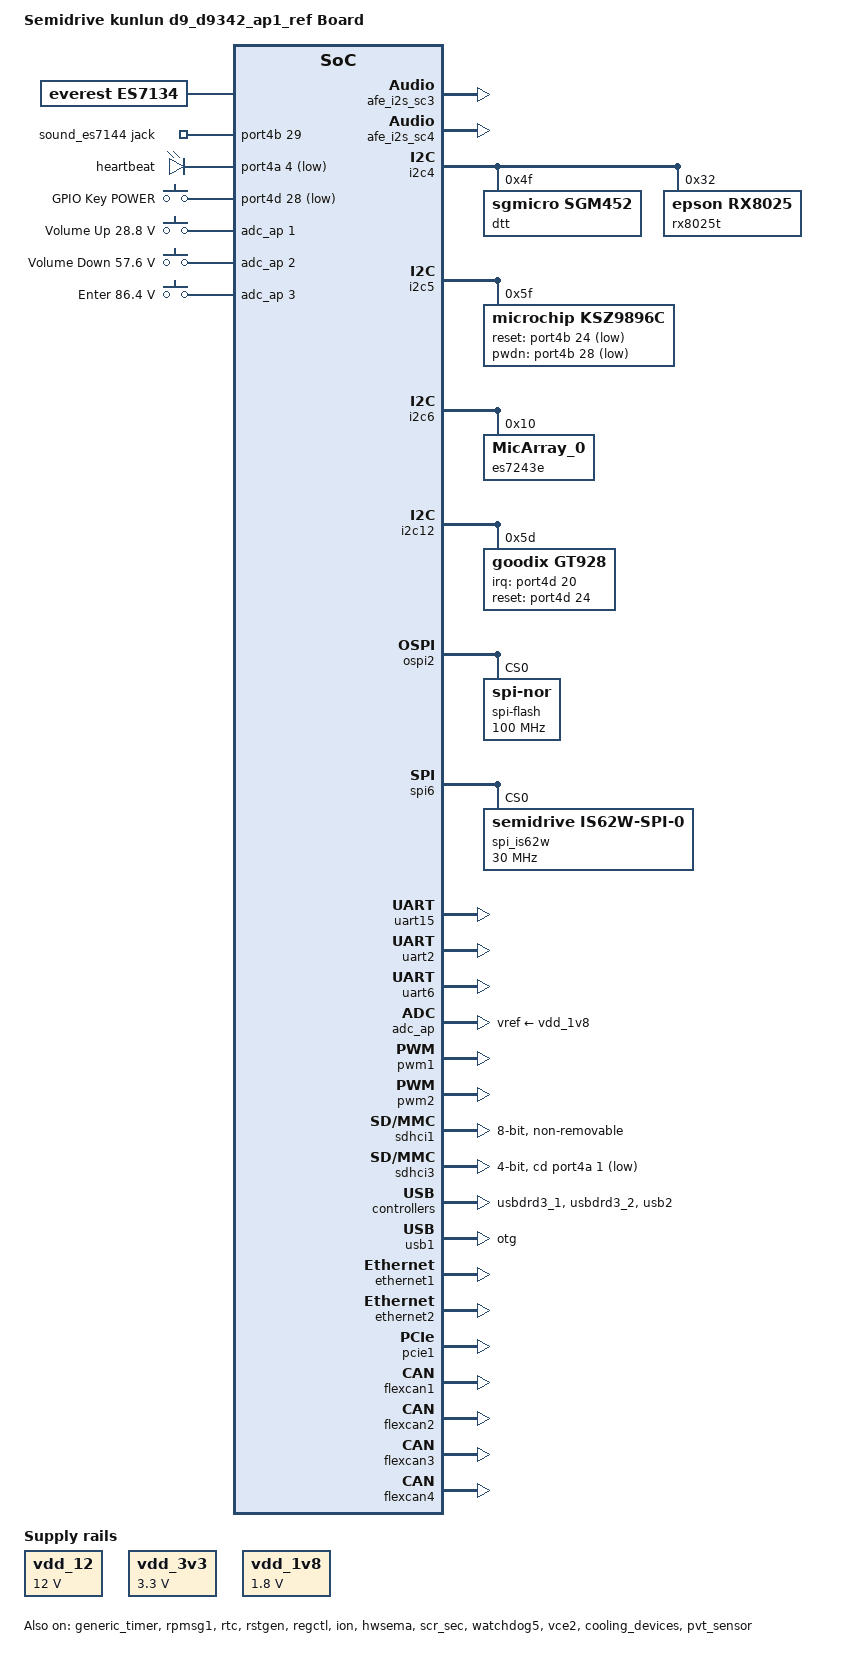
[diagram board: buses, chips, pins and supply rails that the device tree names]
/*
 * Semidrive kunlun platform DTS file
 *
 * Copyright (C) 2019, Semidrive  Communications Inc.
 *
 * This file is licensed under a dual GPLv2 or X11 license.
 */

/dts-v1/;
#include <dt-bindings/input/input.h>
#include <dt-bindings/pinctrl/pins-sdx9.h>
#include <dt-bindings/memmap/d9342/projects/default/image_cfg.h>
#include <dt-bindings/memory/sdrv_ion.h>
#include <dt-bindings/rpmsg/sd,x9h-default.h>
#include "d9342_ap1.dtsi"
#include "lcd-timings.dtsi"
#include "lcd_hsd123_serdes_mipi_1920x720.dtsi"
#include "lcd_lt9611_bridge_mipi_1920x1080.dtsi"

/ {
	model = "Semidrive kunlun d9_d9342_ap1_ref Board";

	compatible = "semidrive,kunlun";

	aliases {
		serial0 = &uart15;
		serial1 = &uart1;
		serial2 = &uart2;
		//serial3 = &uart3;//safety debug uart
		serial4 = &uart4;
		serial5 = &uart5;
		serial6 = &uart6;
		serial7 = &uart7; /* no use */
		serial8 = &uart8; /* no use */
		serial9 = &uart9;
		//serial10 = &uart10;//sec ssystem debug uart
		serial11 = &uart11;
		serial12 = &uart12;
		serial13 = &uart13;
		serial14 = &uart14;
		//serial15 = &uart15;//linux debug uart
		serial16 = &uart16;
		ethernet0 = &ethernet1;
		ethernet1 = &ethernet2;
		i2c1 = &i2c1;
		i2c2 = &i2c2;
		i2c3 = &i2c3;
		i2c4 = &i2c4;
		i2c5 = &i2c5;
		i2c6 = &i2c6;
		i2c7 = &i2c7;
		i2c8 = &i2c8;
		i2c9 = &i2c9;
		i2c10 = &i2c10;
		i2c11 = &i2c11;
		i2c12 = &i2c12;
		spi0 = &ospi2;
		spi2 = &spi2;
		spi5 = &spi5;
		spi6 = &spi6;
		spi7 = &spi7;
		spi8 = &spi8;
	};

	memory@50000000 {
		device_type = "memory";
		reg = <HIGH32(AP1_REE_MEMBASE) LOW32(AP1_REE_MEMBASE) HIGH32(AP1_REE_MEMSIZE) LOW32(AP1_REE_MEMSIZE) \
		       HIGH32(AP1_2ND_MEMBASE) LOW32(AP1_2ND_MEMBASE) HIGH32(AP1_2ND_MEMSIZE) LOW32(AP1_2ND_MEMSIZE) \
		       0x0 (VDSP_MEMBASE+0x4000) 0x0 (VDSP_SHARE_MEMSIZE + VDSP_MEMSIZE -0x4000)>;
	};

	reserved-memory {
		#address-cells = <2>;
		#size-cells = <2>;
		ranges;

		crashdump {
			/* reserve preloader mem for crashdump */
			compatible = "crashdump";
			reg = <HIGH32(AP1_PRELOADER_MEMBASE) LOW32(AP1_PRELOADER_MEMBASE) 0 AP1_PRELOADER_MEMSIZE>;
		};

		ramoops {
			compatible = "ramoops";
			reg = <HIGH32(AP1_BOARD_RAMDISK_MEMBASE + AP1_BOARD_RAMDISK_MEMSIZE + 0x1000000)
				LOW32(AP1_BOARD_RAMDISK_MEMBASE + AP1_BOARD_RAMDISK_MEMSIZE + 0x1000000) 0x0 0x100000>;
			record-size = <0x60000>;
			console-size = <0x40000>;
			ftrace-size = <0x20000>;
			pmsg-size = <0x40000>;
		};

		/* Default Common CMA Pool */
		/* QUIRK: Must be kept in the lower 4096 MiBs of DRAM banks for VE */
		linux,cma {
			compatible = "shared-dma-pool";
			reusable;
			size = <0x0 0x10000000>; /* 256MB */
			/* 4GB maximum in case of 32-bit only capable devices */
			alloc-ranges = <0x0 0x0 0x0 0xffffffff>;
			linux,cma-default;
		};

		rproc_0_safety: rproc@0 {
			compatible = "shared-dma-pool";
			no-map;
			reg = <0x0 RPMSG0_MEM_POOL_BASE 0x0 RPMSG0_MEM_POOL_SIZE>;
		};

		rproc_1_secure: rproc@1 {
			compatible = "shared-dma-pool";
			no-map;
			reg = <0x0 RPMSG1_MEM_POOL_BASE 0x0 RPMSG1_MEM_POOL_SIZE>;
		};
	};

	chosen {
		// The uboot bootargs will override this bootargs property defined in
		// current node. if you want to modify the bootargs, Please goto uboot
		// to modify include/configs/semidrive/<board.h>

		//bootargs = "skip_initramfs noinitrd root=/dev/mmcblk0p4 rootfstype=ext4 rootwait rw init=/sbin/init highres=1 earlycon loglevel=4 nr_uarts=16 console=ttyS0,115200n8 fbcon=map:1 androidboot.mode=normal androidboot.selinux=permissive androidboot.debuggable=1 androidboot.dm_verity=disable psplash=false";
		stdout-path = "serial0";
                 linux,initrd-start = <AP1_BOARD_RAMDISK_MEMBASE>;
                 linux,initrd-end   = <(AP1_BOARD_RAMDISK_MEMBASE + AP1_BOARD_RAMDISK_MEMSIZE)>;/* 32 MB */
	};

	vdd_12: fixed-vdd_12 {
		compatible = "regulator-fixed";
		regulator-name = "vdd_12v";
		regulator-min-microvolt = <12000000>;
		regulator-max-microvolt = <12000000>;
	};

	vdd_3v3: fixed-vdd_3v3 {
		compatible = "regulator-fixed";
		regulator-name = "vdd_3v3";
		regulator-min-microvolt = <3300000>;
		regulator-max-microvolt = <3300000>;
	};

	vdd_1v8: fixed-vdd_1v8 {
		compatible = "regulator-fixed";
		regulator-name = "vdd_1v8";
		regulator-min-microvolt = <1800000>;
		regulator-max-microvolt = <1800000>;
	};

	es7134: codec@es7134 {
		compatible = "everest,es7134";
		status = "okay";
	};

	sound_es7243e: sound@es7243e {
		compatible = "semidrive,d9-ref-es7243e";
		semidrive,audio-codec = <&es7243e>;
		status = "okay";
	};

	sound_es7144: sound@es7144 {
		compatible = "semidrive,d9-ref-es7144";
		semidrive,audio-codec = <&es7134>;
		semidrive,jack-gpio = <&port4b 29 GPIO_ACTIVE_HIGH>;
		status = "okay";
	};

	leds {
		compatible = "gpio-leds";
		status = "okay";
		led0: heartbeat {
			label = "heartbeat";
			gpios = <&port4a 4 GPIO_ACTIVE_LOW> ;//sch-part-D6<->gpio_a4
			default-state = "on";
			linux,default-trigger = "heartbeat";
		};
	};

	gpio-keys {
		status = "okay";
		compatible = "gpio-keys";
		autorepeat;
		up {
			label = "GPIO Key POWER";
			linux,code = <KEY_POWER>;//KEY_POWER
			gpios = <&port4d 28 GPIO_ACTIVE_LOW> ;//sch-part-J8<->gpio_H2 io124 Y7
		};
	};

	adc-keys0 {
		status = "okay";
		compatible = "adc-keys";
		io-channels = <&adc_ap 1>;
		io-channel-names = "buttons";
		keyup-threshold-microvolt = <30500000>;
		poll-interval = <100>;

		button-up {
			label = "Volume Up";
			linux,code = <KEY_VOLUMEUP>;
			press-threshold-microvolt = <28800000>;
		};

	};

	adc-keys1 {
		status = "okay";
		compatible = "adc-keys";
		io-channels = <&adc_ap 2>;
		io-channel-names = "buttons";
		keyup-threshold-microvolt = <59400000>;
		poll-interval = <100>;

		button-down {
			label = "Volume Down";
			linux,code = <KEY_VOLUMEDOWN>;
			press-threshold-microvolt = <57600000>;
		};

	};

	adc-keys2 {
		status = "okay";
		compatible = "adc-keys";
		io-channels = <&adc_ap 3>;
		io-channel-names = "buttons";
		keyup-threshold-microvolt = <88000000>;
		poll-interval = <100>;

		button-enter {
			label = "Enter";
			linux,code = <KEY_ENTER>;
			press-threshold-microvolt = <86400000>;
		};
	};
};

&dmac5 {
	status = "okay";
};
&dmac6 {
	status = "okay";
};
&dmac7 {
	status = "okay";
};

&afe_i2s_sc3{
//sch part u19(codec dac es7144)
	dmas = <&dmac5 X9_DMA_SLV_ID_I2S_SC3_TX>, <&dmac5 X9_DMA_SLV_ID_I2S_SC3_RX>;
	dma-names = "tx", "rx";
	status = "okay";
};

&afe_i2s_sc4{
//sch part u20(codec adc es7243)
	dmas = <&dmac5 X9_DMA_SLV_ID_I2S_SC4_TX>, <&dmac5 X9_DMA_SLV_ID_I2S_SC4_RX>;
	dma-names = "tx", "rx";
	semidrive,full-duplex = <0>;
	status = "okay";
};

&afe_i2s_sc6{
	dmas = <&dmac5 X9_DMA_SLV_ID_I2S_SC6_TX>, <&dmac5 X9_DMA_SLV_ID_I2S_SC6_RX>;
	dma-names = "tx", "rx";
	status = "disabled";
};

&afe_i2s_sc8{
	dmas = <&dmac5 X9_DMA_SLV_ID_I2S_SC8_TX>, <&dmac5 X9_DMA_SLV_ID_I2S_SC8_RX>;
	dma-names = "tx", "rx";
	status = "disabled";
};

&csi0 {
	mbus-type = "mipi-csi2";
	pclk-sample = <1>;
	status = "disabled";

	ports {
		csi0_stream0: port@0 {
			csi0_stream0_in: endpoint@0 {
				remote-endpoint = <&csimipi0_0_out>;
			};
		};
		csi0_stream1: port@1 {
			csi0_stream1_in: endpoint@0 {
				remote-endpoint = <&csimipi0_1_out>;
			};
		};
		csi0_stream2: port@2 {
			csi0_stream2_in: endpoint@0 {
				remote-endpoint = <&csimipi0_2_out>;
			};
		};
		csi0_stream3: port@3 {
			csi0_stream3_in: endpoint@0 {
				remote-endpoint = <&csimipi0_3_out>;
			};
		};
	};
};

&csi2 {
	mbus-type = "bt656";
	pclk-sample = <0>;
	status = "disabled";

	ports {
		csi2_stream0: port@0 {
			csi2_stream0_in: endpoint@0 {
				remote-endpoint = <&csiparallel0_out>;
			};
		};

	};
};

&csimipi0 {
	status = "disabled";
	lanerate = <576000000>;
	hsa = <10>;
	hbp = <20>;
	hsd = <0x60>;
	output-type = <0x1e>;

	ports {
		#address-cells = <1>;
		#size-cells = <0>;

		port@0 {
			#address-cells = <1>;
			#size-cells = <0>;
			reg = <0>;
			csimipi0_0_in: endpoint@0 {
				remote-endpoint = <&cam0_to_mipi_0>;
				reg = <0>;
			};
			csimipi0_0_out: endpoint@1 {
				remote-endpoint = <&csi0_stream0_in>;
				reg = <0>;
			};
		};
		port@1 {
			#address-cells = <1>;
			#size-cells = <0>;
			reg = <1>;
			csimipi0_1_in: endpoint@0 {
				remote-endpoint = <&cam0_to_mipi_1>;
				reg = <1>;
			};
			csimipi0_1_out: endpoint@1 {
				remote-endpoint = <&csi0_stream1_in>;
				reg = <1>;
			};
		};
		port@2 {
			#address-cells = <1>;
			#size-cells = <0>;
			reg = <2>;
			csimipi0_2_in: endpoint@0 {
				remote-endpoint = <&cam0_to_mipi_2>;
				reg = <2>;
			};
			csimipi0_2_out: endpoint@1 {
				remote-endpoint = <&csi0_stream2_in>;
				reg = <2>;
			};
		};
		port@3 {
			#address-cells = <1>;
			#size-cells = <0>;
			reg = <3>;
			csimipi0_3_in: endpoint@0 {
				remote-endpoint = <&cam0_to_mipi_3>;
				reg = <3>;
			};
			csimipi0_3_out: endpoint@1 {
				remote-endpoint = <&csi0_stream3_in>;
				reg = <3>;
			};
		};
	};
};

&csiparallel {
	status = "disabled";
	#address-cells = <1>;
	#size-cells = <0>;

	port {
		#address-cells = <1>;
		#size-cells = <0>;
		reg = <0>;
		csiparallel0_in: endpoint@0 {
			remote-endpoint = <&cam2_to_parallel>;
		};

		csiparallel0_out: endpoint@1 {
			remote-endpoint = <&csi2_stream0_in>;
		};
	};
};

&i2c4 {
//sch part U22(pvt sgm452t)
	status = "okay";
	dtt@4f {
		compatible = "sgmicro,sgm452";
		reg = <0x4f>;
	};

	rx8025t: rx8025t@32 {
		compatible = "epson,rx8025";
		reg = <0x32>;
        };
};
&i2c5 {
	status = "okay";
	ksz9896c:ksz9896c@5f {
		compatible = "microchip,ksz9896c";
		ksz9896c,reset-gpio = <&port4b 24 GPIO_ACTIVE_LOW>;
		ksz9896c,pwdn-gpio =  <&port4b 28 GPIO_ACTIVE_LOW>;
		//gpios = <&port4d 28 GPIO_ACTIVE_LOW> ;//sch-part-J8<->gpio_H2 io124 Y7

		reg = <0x5f>;
	};
};

&i2c6 {
	status = "okay";
	es7243e: codec@10 {
		compatible = "MicArray_0";
		reg = <0x10>;
	};
};

&i2c7 {
	status = "disabled";
	dvp_tp2850:dvp_tp2850@44 {
		compatible = "tp,tp2850";
		reg = <0x44>;
		sync = <0>;
		rst-gpios = <&port4c 19 GPIO_ACTIVE_HIGH>;//index(79) gpio D15
		port {
			cam2_to_parallel:endpoint@0 {
				remote-endpoint = <&csiparallel0_in>;
			};
		};
	};
};

&i2c8 {
	status = "disabled";
};

&i2c9 {
//sch part U3(N4)
	status = "disabled";

	n4:n4@31 {
		compatible = "nextchip,n4";
		reg = <0x31>;
		sync = <0>;
		pwdn-gpios = <&port4d 27 GPIO_ACTIVE_HIGH>;//index(123) gpio h1
		rst-gpios = <&port4c 15 GPIO_ACTIVE_HIGH>;//index(79) gpio D15
		ports {
			port@0 {
				#address-cells = <1>;
				#size-cells = <0>;

				cam0_to_mipi_0: endpoint@0 {
					remote-endpoint = <&csimipi0_0_in>;
				};
			};
			port@1 {
				#address-cells = <1>;
				#size-cells = <0>;

				cam0_to_mipi_1: endpoint@0 {
					remote-endpoint = <&csimipi0_1_in>;
				};
			};
			port@2 {
				#address-cells = <1>;
				#size-cells = <0>;

				cam0_to_mipi_2: endpoint@0 {
					remote-endpoint = <&csimipi0_2_in>;
				};
			};
			port@3 {
				#address-cells = <1>;
				#size-cells = <0>;

				cam0_to_mipi_3: endpoint@0 {
					remote-endpoint = <&csimipi0_3_in>;
				};
			};
		};
	};
};

&i2c11 {
	status = "disabled";
	lt9611_bridge: bridge@39 {
		status = "okay";
		compatible = "semidrive,lt9611";
		reg = <0x39>;   /* i2c device address */
		/* GPIO_D9 */
		lt9611-rst-gpios = <&port4c 9 GPIO_ACTIVE_HIGH>;
	};
};

&i2c12 {
	status = "okay";

	gt928: gt9278@5d {
		compatible = "goodix,gt928";
		irq-gpios = <&port4d 20 0>;	  /* GPIO_G12 */
		reset-gpios = <&port4d 24 0>; /* GPIO_G16 */
		reg = <0x5d>;
	};
};

&ospi2 {
	status = "okay";
	clocks = <&OSPI2>;
	clock-names = "core";
	spi-flash@0 {
		compatible = "jedec,spi-nor";
		cdns,read-delay = <1>;
		cdns,tshsl-ns = <50>;
		cdns,tsd2d-ns = <50>;
		cdns,tchsh-ns = <50>;
		cdns,tslch-ns = <50>;
		spi-max-frequency = <100000000>;
		reg = <0>;
		page-size = <256>;
		block-size = <12>;
		status = "okay";
	};
	spi-nand@0 {
		compatible = "spi-nand";
		cdns,read-delay = <1>;
		cdns,tshsl-ns = <50>;
		cdns,tsd2d-ns = <50>;
		cdns,tchsh-ns = <50>;
		cdns,tslch-ns = <50>;
		spi-max-frequency = <100000000>;
		reg = <0>;
		page-size = <256>;
		block-size = <12>;
		status = "disabled";
	};
};

&spi5 {
	status = "disabled";
};

&spi6 {
//sch core part U1502(IS62WVS5128GBL)
	dmas = <&dmac5 X9_DMA_SLV_ID_SPI6_TX>, <&dmac5 X9_DMA_SLV_ID_SPI6_RX>;
	dma-names = "tx", "rx";
	status = "okay";
	spi_is62w@0 {
		compatible = "semidrive,is62w-spi-0";
		reg = <0>;
		spi-max-frequency = <30000000>;
		page_size = <32>;
		page_num = <0x4000>;
		die_num = <2>;
		poll_mode = <0>;
		type = <0>;
		enable_dma = <0>;
	};

};

&spi7 {
	status = "disabled";
};

&spi8 {
	status = "disabled";
};

&uart15 {
//linux debug
	dmas = <&dmac5 X9_DMA_SLV_ID_UART15_TX>, <&dmac5 X9_DMA_SLV_ID_UART15_RX>;
	dma-names = "tx", "rx";
	status = "okay";
};

&uart1 {
//xm1 --need flip
	status = "disabled";
};

&uart2 {
//rs485
//sch part u28 sit3485
	snps,dma-not-used;
	snps,config-as-485-function;
	snps,485_re_polarity_val = <0>;
	snps,485_de_polarity_val = <1>;

	/*  0: full duplex
	 *  1: software half duplex
	 *  2: hardware half duplex
	 */
	snps,485_xfer_mode = <0>; /* sit3485 support full duplex only */
	snps,485_de_assert_time = <0x32>;
	snps,485_de_deassert_time = <0xf>;
	snps,485_de2re_turn_around_time = <0x51>;
	snps,485_re2de_turn_around_time = <0x38>;
	status = "okay";
};

//&uart3 {
//saf debug uart,we not use for ever
//	status = "disabled";
//};

&uart4 {
	status = "disabled";
};

&uart5 {
	status = "disabled";
};

&uart6 {
//rs232
//sch part u29 sit3232
	snps,dma-not-used;
	status = "okay";
};

&uart9 {
//sch part xm1 --need flip
	status = "disabled";
};

&uart10 {
//sec debug
	status = "disabled";
};

&uart11 {
	status = "disabled";
};

&uart12 {
//sch part xm7 --need flip
	status = "disabled";
};

&uart13 {
//sch part xm5 --need flip
	status = "disabled";
};

&uart14 {
//sch part xm6 --need flip
	status = "disabled";
};


&uart16 {
//sch part xm8 --need flip
	status = "disabled";
};

&generic_timer {
	status = "okay";
};

&adc_ap {
	resolution_value = <0x03>; /*ADC_6_BITS_E0 = 0x00 , ADC_8_BITS_E1 = 0x01 , ADC_10_BITS_E2 = 0x02 , ADC_12_BITS_E3 = 0x03*/
	clksrc_sel = <0x00>; /*ADC_SRC_CLK_ALT_E0 = 0x00 , ADC_SRC_CLK_PCLK_E1 = 0x01 , ADC_SRC_CLK_EXT_E2 = 0x02*/
	clk_value = <24000000>;
	channel_num = <4>;
	use-adc-fifo;
	adc-clk-disable;
	vref-supply = <&vdd_1v8>;
	status = "okay";
};

&pwm1 {
	sd,playback-num-chan = <4>;
	#pwm-cells = <3>;
	status = "okay";
};

&pwm2 {
	sd,playback-num-chan = <4>;
	#pwm-cells = <3>;
	status = "okay";
};

&vpu2 {
	resets = <&rstgen RSTGEN_MODULE_VPU2>;
	reset-names = "vpu-reset";
	status = "disabled";
};

&jpu {
	resets = <&rstgen RSTGEN_MODULE_MJPEG>;
	reset-names = "jpu-reset";
	status = "disabled";
};

&gpu2 {
	status = "disabled";
};

&clk_gpu2 {
	status = "disabled";
};

&g2d {
	status = "disabled";
};

&pinctrl {
	reg = <0x0 0x37000000 0x0 0x10000>;
	pinctrl-names = "default";

	sdx9-evk {
		pinctrl_mshc1: mshc1grp {
		kunlun,pins = <
			X9_PINCTRL_EMMC1_CLK__MSHC1_CLK_1 		X9_PINCTRL_OPEN_DRAIN_DISABLE
			X9_PINCTRL_EMMC1_CMD__MSHC1_CMD_1		X9_PINCTRL_OPEN_DRAIN_DISABLE
			X9_PINCTRL_EMMC1_DATA0__MSHC1_DATA_0_1	X9_PINCTRL_OPEN_DRAIN_DISABLE
			X9_PINCTRL_EMMC1_DATA1__MSHC1_DATA_1_1	X9_PINCTRL_OPEN_DRAIN_DISABLE
			X9_PINCTRL_EMMC1_DATA2__MSHC1_DATA_2_1	X9_PINCTRL_OPEN_DRAIN_DISABLE
			X9_PINCTRL_EMMC1_DATA3__MSHC1_DATA_3_1	X9_PINCTRL_OPEN_DRAIN_DISABLE
			X9_PINCTRL_EMMC1_DATA4__MSHC1_DATA_4_1	X9_PINCTRL_OPEN_DRAIN_DISABLE
			X9_PINCTRL_EMMC1_DATA5__MSHC1_DATA_5_1	X9_PINCTRL_OPEN_DRAIN_DISABLE
			X9_PINCTRL_EMMC1_DATA6__MSHC1_DATA_6_1	X9_PINCTRL_OPEN_DRAIN_DISABLE
			X9_PINCTRL_EMMC1_DATA7__MSHC1_DATA_7_1	X9_PINCTRL_OPEN_DRAIN_DISABLE
			X9_PINCTRL_EMMC1_STROBE__MSHC1_STB_1		X9_PINCTRL_OPEN_DRAIN_ENABLE
			X9_PINCTRL_EMMC1_RESET_N__MSHC1_RST_N_1	X9_PINCTRL_OPEN_DRAIN_DISABLE
			>;
		};

		pinctrl_gpiotouch_lvds: touchgrp_lvds {
		kunlun,pins = <
			X9_PINCTRL_I2S_MC_SD4__GPIO_MUX2_IO80_1          0x00
			X9_PINCTRL_I2S_MC_SD5__GPIO_MUX2_IO81_1          0x00
			X9_PINCTRL_I2S_MC_SD6__GPIO_MUX2_IO82_1          0x00
			X9_PINCTRL_I2S_MC_SD7__GPIO_MUX2_IO83_1          0x00
			>;
		};
		pinctrl_gpiotouch_mipi: touchgrp_mipi {
			kunlun,pins = <
			X9_PINCTRL_EMMC2_CLK__GPIO_MUX2_IO96_1          0x00
			X9_PINCTRL_EMMC2_CMD__GPIO_MUX2_IO97_1          0x00
			>;
		};
	};
};

&gpio4 {
	//pinctrl-names = "default";
	//pinctrl-0 = <&pinctrl_gpiotouch_lvds &pinctrl_gpiotouch_mipi>;
	status = "okay";
};
&sdhci1 {
	bus-width = <8>;
	non-removable;
	no-sdio;
	no-sd;
	card-is-emmc;
	disable-wp;
	cap-mmc-highspeed;
	keep-power-in-suspend;
	mmc-ddr-1_8v;
	mmc-hs200-1_8v;
	mmc-hs400-1_8v;
	status = "okay";
};

&sdhci3 {
	#clock-cells = <1>;
	clocks = <&EMMC3>;
	clock-names = "core";
	max-frequency = <100000000>;
	cd-gpios = <&port4a 1 GPIO_ACTIVE_LOW>;//sch-part-D6<->gpio_a1 io1 Y19
	pwr-gpios = <&port4b 25 GPIO_ACTIVE_HIGH>;//gpio_c9
	bus-width = <4>;
	no-mmc;
	no-sdio;
	disable-wp;
	keep-power-in-suspend;
	cap-sd-highspeed;
	sd-uhs-sdr104;
	status = "okay";
};

&mbox {
	status = "okay";
};

&mbox_test {
	status = "okay";
};

&rpmsg0 {
	memory-region = <&rproc_0_safety>;
	reg = <0x0 RPMSG0_MEM_HEAD_BASE 0x0 RPMSG0_MEM_HEAD_SIZE>;
	status = "disabled";
};

&rpmsg1 {
	memory-region = <&rproc_1_secure>;
	reg = <0x0 RPMSG1_MEM_HEAD_BASE 0x0 RPMSG1_MEM_HEAD_SIZE>;
	status = "okay";
};

&ipcc0 {
	status = "disabled";
};

&ipcc1 {
	status = "okay";
};


&rtc {
	status = "okay";
};

&usbdrd3_1 {
	status = "okay";
};

&usb3_id1 {
	id-gpios = <&port4e 3 GPIO_ACTIVE_LOW>;
};

&usb1 {
	dr_mode = "otg";
	status = "okay";
};

&usbdrd3_2 {
	status = "okay";
};

&usb2 {
	status = "okay";
};

&ethernet1 {
	snps,max_dma_cap_quirk = <32>;
	status = "okay";
};

&ethernet2 {
	status = "okay";
};

&rstgen {
	reg = <0x0 0x38467000 0x0 0x1000>,	/* vpu1 */
		<0x0 0x38468000 0x0 0x1000>,	/* vpu2 */
		<0x0 0x38469000 0x0 0x1000>,	/* mjpeg */
		<0x0 0x38490000 0x0 0x1000>,	/* gpu1 core */
		<0x0 0x38491000 0x0 0x1000>,	/* gpu1 ss */
		<0x0 0x38461000 0x0 0x1000>,	/* GIC4 */
		<0x0 0x38455000 0x0 0x1000>,	/* cpu1 core0 warm */
		<0x0 0x38456000 0x0 0x1000>,	/* cpu1 core1 warm */
		<0x0 0x38457000 0x0 0x1000>,	/* cpu1 core2 warm */
		<0x0 0x38458000 0x0 0x1000>,	/* cpu1 core3 warm */
		<0x0 0x38459000 0x0 0x1000>,	/* cpu1 core4 warm */
		<0x0 0x3845a000 0x0 0x1000>,	/* cpu1 core5 warm */
		<0x0 0x3845b000 0x0 0x1000>,	/* cpu1 scu warm */
		<0x0 0x3846d000 0x0 0x1000>,	/* cpu1 ss */
		<0x0 0x38407000 0x0 0x2000>;	/* cpu1 all core */
	rstgen_resource = <
		RSTGEN_MODULE_VPU1
		RSTGEN_MODULE_VPU2
		RSTGEN_MODULE_MJPEG
		RSTGEN_MODULE_GPU1_CORE
		RSTGEN_MODULE_GPU1_SS
		RSTGEN_MODULE_GIC4
		RSTGEN_MODULE_CPU1_CORE0_WARM
		RSTGEN_MODULE_CPU1_CORE1_WARM
		RSTGEN_MODULE_CPU1_CORE2_WARM
		RSTGEN_MODULE_CPU1_CORE3_WARM
		RSTGEN_MODULE_CPU1_CORE4_WARM
		RSTGEN_MODULE_CPU1_CORE5_WARM
		RSTGEN_MODULE_CPU1_SCU_WARM
		RSTGEN_MODULE_CPU1_SS
		RSTGEN_CORE_CPU1_ALL
		>;
	status = "okay";
};

&regctl {
	reg = <0x0 0x38415000 0x0 0x1000>,
		<0x0 0x38418000 0x0 0x1000>,
		<0x0 0x38419000 0x0 0x1000>,
		<0x0 0x3841a000 0x0 0x1000>;
	reg-names = "SDRV_REG_REMAP",
			"SDRV_REG_BOOTREASON",
			"SDRV_REG_HWID",
			"SDRV_REG_STATUS";
	status = "okay";
};

&ion {
	status = "okay";
};

&hwsema {
	status = "okay";
};

&scr_sec {
	status = "okay";
};

&watchdog5 {
	wdt,auto-run = "false";
	status = "okay";
};

&pcie1 {
	status = "okay";

	endpoint {
		#address-cells = <1>;
		#size-cells = <0>;
		brcmf@1 {
			reg = <1>;
			compatible = "brcm,bcm4329-fmac";
		};
        };
};

&vce2 {
	/*
	 * op-mode options:
	 * bit 0: rng enable(1) or disable(0)
	 * bit 1: ce enable(1) or disable(0)
	 */
	op-mode = <3>;
	status = "okay";
};

&cooling_devices {
	status = "okay";
};

&pvt_sensor {
	status = "okay";
};

&flexcan1 {
	clocks = <&CAN5_TO_20>, <&CAN5_TO_20>;
	clock-names = "per", "ipg";
	assigned-clocks = <&CAN5_TO_20>, <&CAN5_TO_20>;
	assigned-clock-rates = <80000000>, <80000000>;
	status = "okay";
};

&flexcan2 {
	clocks = <&CAN5_TO_20>, <&CAN5_TO_20>;
	clock-names = "per", "ipg";
	assigned-clocks = <&CAN5_TO_20>, <&CAN5_TO_20>;
	assigned-clock-rates = <80000000>, <80000000>;
	status = "okay";
};

&flexcan3 {
	clocks = <&CAN5_TO_20>, <&CAN5_TO_20>;
	clock-names = "per", "ipg";
	assigned-clocks = <&CAN5_TO_20>, <&CAN5_TO_20>;
	assigned-clock-rates = <80000000>, <80000000>;
	status = "okay";
};

&flexcan4 {
	clocks = <&CAN5_TO_20>, <&CAN5_TO_20>;
	clock-names = "per", "ipg";
	assigned-clocks = <&CAN5_TO_20>, <&CAN5_TO_20>;
	assigned-clock-rates = <80000000>, <80000000>;
	status = "okay";
};
